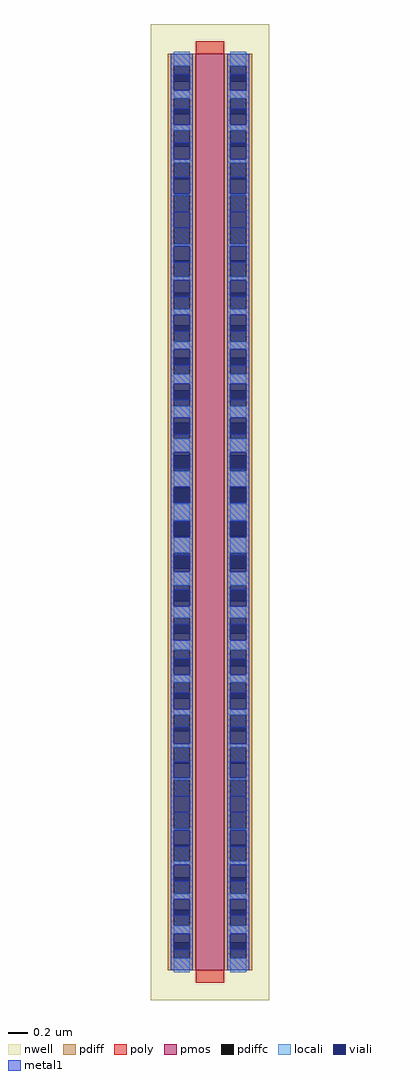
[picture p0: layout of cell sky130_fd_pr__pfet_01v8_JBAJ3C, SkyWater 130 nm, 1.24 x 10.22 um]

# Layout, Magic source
magic
tech sky130A
magscale 1 2
<< nwell >>
rect -124 -1022 124 1022
<< pmos >>
rect -30 -960 30 960
<< pdiff >>
rect -88 935 -30 960
rect -88 901 -76 935
rect -42 901 -30 935
rect -88 867 -30 901
rect -88 833 -76 867
rect -42 833 -30 867
rect -88 799 -30 833
rect -88 765 -76 799
rect -42 765 -30 799
rect -88 731 -30 765
rect -88 697 -76 731
rect -42 697 -30 731
rect -88 663 -30 697
rect -88 629 -76 663
rect -42 629 -30 663
rect -88 595 -30 629
rect -88 561 -76 595
rect -42 561 -30 595
rect -88 527 -30 561
rect -88 493 -76 527
rect -42 493 -30 527
rect -88 459 -30 493
rect -88 425 -76 459
rect -42 425 -30 459
rect -88 391 -30 425
rect -88 357 -76 391
rect -42 357 -30 391
rect -88 323 -30 357
rect -88 289 -76 323
rect -42 289 -30 323
rect -88 255 -30 289
rect -88 221 -76 255
rect -42 221 -30 255
rect -88 187 -30 221
rect -88 153 -76 187
rect -42 153 -30 187
rect -88 119 -30 153
rect -88 85 -76 119
rect -42 85 -30 119
rect -88 51 -30 85
rect -88 17 -76 51
rect -42 17 -30 51
rect -88 -17 -30 17
rect -88 -51 -76 -17
rect -42 -51 -30 -17
rect -88 -85 -30 -51
rect -88 -119 -76 -85
rect -42 -119 -30 -85
rect -88 -153 -30 -119
rect -88 -187 -76 -153
rect -42 -187 -30 -153
rect -88 -221 -30 -187
rect -88 -255 -76 -221
rect -42 -255 -30 -221
rect -88 -289 -30 -255
rect -88 -323 -76 -289
rect -42 -323 -30 -289
rect -88 -357 -30 -323
rect -88 -391 -76 -357
rect -42 -391 -30 -357
rect -88 -425 -30 -391
rect -88 -459 -76 -425
rect -42 -459 -30 -425
rect -88 -493 -30 -459
rect -88 -527 -76 -493
rect -42 -527 -30 -493
rect -88 -561 -30 -527
rect -88 -595 -76 -561
rect -42 -595 -30 -561
rect -88 -629 -30 -595
rect -88 -663 -76 -629
rect -42 -663 -30 -629
rect -88 -697 -30 -663
rect -88 -731 -76 -697
rect -42 -731 -30 -697
rect -88 -765 -30 -731
rect -88 -799 -76 -765
rect -42 -799 -30 -765
rect -88 -833 -30 -799
rect -88 -867 -76 -833
rect -42 -867 -30 -833
rect -88 -901 -30 -867
rect -88 -935 -76 -901
rect -42 -935 -30 -901
rect -88 -960 -30 -935
rect 30 935 88 960
rect 30 901 42 935
rect 76 901 88 935
rect 30 867 88 901
rect 30 833 42 867
rect 76 833 88 867
rect 30 799 88 833
rect 30 765 42 799
rect 76 765 88 799
rect 30 731 88 765
rect 30 697 42 731
rect 76 697 88 731
rect 30 663 88 697
rect 30 629 42 663
rect 76 629 88 663
rect 30 595 88 629
rect 30 561 42 595
rect 76 561 88 595
rect 30 527 88 561
rect 30 493 42 527
rect 76 493 88 527
rect 30 459 88 493
rect 30 425 42 459
rect 76 425 88 459
rect 30 391 88 425
rect 30 357 42 391
rect 76 357 88 391
rect 30 323 88 357
rect 30 289 42 323
rect 76 289 88 323
rect 30 255 88 289
rect 30 221 42 255
rect 76 221 88 255
rect 30 187 88 221
rect 30 153 42 187
rect 76 153 88 187
rect 30 119 88 153
rect 30 85 42 119
rect 76 85 88 119
rect 30 51 88 85
rect 30 17 42 51
rect 76 17 88 51
rect 30 -17 88 17
rect 30 -51 42 -17
rect 76 -51 88 -17
rect 30 -85 88 -51
rect 30 -119 42 -85
rect 76 -119 88 -85
rect 30 -153 88 -119
rect 30 -187 42 -153
rect 76 -187 88 -153
rect 30 -221 88 -187
rect 30 -255 42 -221
rect 76 -255 88 -221
rect 30 -289 88 -255
rect 30 -323 42 -289
rect 76 -323 88 -289
rect 30 -357 88 -323
rect 30 -391 42 -357
rect 76 -391 88 -357
rect 30 -425 88 -391
rect 30 -459 42 -425
rect 76 -459 88 -425
rect 30 -493 88 -459
rect 30 -527 42 -493
rect 76 -527 88 -493
rect 30 -561 88 -527
rect 30 -595 42 -561
rect 76 -595 88 -561
rect 30 -629 88 -595
rect 30 -663 42 -629
rect 76 -663 88 -629
rect 30 -697 88 -663
rect 30 -731 42 -697
rect 76 -731 88 -697
rect 30 -765 88 -731
rect 30 -799 42 -765
rect 76 -799 88 -765
rect 30 -833 88 -799
rect 30 -867 42 -833
rect 76 -867 88 -833
rect 30 -901 88 -867
rect 30 -935 42 -901
rect 76 -935 88 -901
rect 30 -960 88 -935
<< pdiffc >>
rect -76 901 -42 935
rect -76 833 -42 867
rect -76 765 -42 799
rect -76 697 -42 731
rect -76 629 -42 663
rect -76 561 -42 595
rect -76 493 -42 527
rect -76 425 -42 459
rect -76 357 -42 391
rect -76 289 -42 323
rect -76 221 -42 255
rect -76 153 -42 187
rect -76 85 -42 119
rect -76 17 -42 51
rect -76 -51 -42 -17
rect -76 -119 -42 -85
rect -76 -187 -42 -153
rect -76 -255 -42 -221
rect -76 -323 -42 -289
rect -76 -391 -42 -357
rect -76 -459 -42 -425
rect -76 -527 -42 -493
rect -76 -595 -42 -561
rect -76 -663 -42 -629
rect -76 -731 -42 -697
rect -76 -799 -42 -765
rect -76 -867 -42 -833
rect -76 -935 -42 -901
rect 42 901 76 935
rect 42 833 76 867
rect 42 765 76 799
rect 42 697 76 731
rect 42 629 76 663
rect 42 561 76 595
rect 42 493 76 527
rect 42 425 76 459
rect 42 357 76 391
rect 42 289 76 323
rect 42 221 76 255
rect 42 153 76 187
rect 42 85 76 119
rect 42 17 76 51
rect 42 -51 76 -17
rect 42 -119 76 -85
rect 42 -187 76 -153
rect 42 -255 76 -221
rect 42 -323 76 -289
rect 42 -391 76 -357
rect 42 -459 76 -425
rect 42 -527 76 -493
rect 42 -595 76 -561
rect 42 -663 76 -629
rect 42 -731 76 -697
rect 42 -799 76 -765
rect 42 -867 76 -833
rect 42 -935 76 -901
<< poly >>
rect -30 960 30 986
rect -30 -986 30 -960
<< locali >>
rect -76 935 -42 964
rect -76 867 -42 883
rect -76 799 -42 811
rect -76 731 -42 739
rect -76 663 -42 667
rect -76 557 -42 561
rect -76 485 -42 493
rect -76 413 -42 425
rect -76 341 -42 357
rect -76 269 -42 289
rect -76 197 -42 221
rect -76 125 -42 153
rect -76 53 -42 85
rect -76 -17 -42 17
rect -76 -85 -42 -53
rect -76 -153 -42 -125
rect -76 -221 -42 -197
rect -76 -289 -42 -269
rect -76 -357 -42 -341
rect -76 -425 -42 -413
rect -76 -493 -42 -485
rect -76 -561 -42 -557
rect -76 -667 -42 -663
rect -76 -739 -42 -731
rect -76 -811 -42 -799
rect -76 -883 -42 -867
rect -76 -964 -42 -935
rect 42 935 76 964
rect 42 867 76 883
rect 42 799 76 811
rect 42 731 76 739
rect 42 663 76 667
rect 42 557 76 561
rect 42 485 76 493
rect 42 413 76 425
rect 42 341 76 357
rect 42 269 76 289
rect 42 197 76 221
rect 42 125 76 153
rect 42 53 76 85
rect 42 -17 76 17
rect 42 -85 76 -53
rect 42 -153 76 -125
rect 42 -221 76 -197
rect 42 -289 76 -269
rect 42 -357 76 -341
rect 42 -425 76 -413
rect 42 -493 76 -485
rect 42 -561 76 -557
rect 42 -667 76 -663
rect 42 -739 76 -731
rect 42 -811 76 -799
rect 42 -883 76 -867
rect 42 -964 76 -935
<< viali >>
rect -76 901 -42 917
rect -76 883 -42 901
rect -76 833 -42 845
rect -76 811 -42 833
rect -76 765 -42 773
rect -76 739 -42 765
rect -76 697 -42 701
rect -76 667 -42 697
rect -76 595 -42 629
rect -76 527 -42 557
rect -76 523 -42 527
rect -76 459 -42 485
rect -76 451 -42 459
rect -76 391 -42 413
rect -76 379 -42 391
rect -76 323 -42 341
rect -76 307 -42 323
rect -76 255 -42 269
rect -76 235 -42 255
rect -76 187 -42 197
rect -76 163 -42 187
rect -76 119 -42 125
rect -76 91 -42 119
rect -76 51 -42 53
rect -76 19 -42 51
rect -76 -51 -42 -19
rect -76 -53 -42 -51
rect -76 -119 -42 -91
rect -76 -125 -42 -119
rect -76 -187 -42 -163
rect -76 -197 -42 -187
rect -76 -255 -42 -235
rect -76 -269 -42 -255
rect -76 -323 -42 -307
rect -76 -341 -42 -323
rect -76 -391 -42 -379
rect -76 -413 -42 -391
rect -76 -459 -42 -451
rect -76 -485 -42 -459
rect -76 -527 -42 -523
rect -76 -557 -42 -527
rect -76 -629 -42 -595
rect -76 -697 -42 -667
rect -76 -701 -42 -697
rect -76 -765 -42 -739
rect -76 -773 -42 -765
rect -76 -833 -42 -811
rect -76 -845 -42 -833
rect -76 -901 -42 -883
rect -76 -917 -42 -901
rect 42 901 76 917
rect 42 883 76 901
rect 42 833 76 845
rect 42 811 76 833
rect 42 765 76 773
rect 42 739 76 765
rect 42 697 76 701
rect 42 667 76 697
rect 42 595 76 629
rect 42 527 76 557
rect 42 523 76 527
rect 42 459 76 485
rect 42 451 76 459
rect 42 391 76 413
rect 42 379 76 391
rect 42 323 76 341
rect 42 307 76 323
rect 42 255 76 269
rect 42 235 76 255
rect 42 187 76 197
rect 42 163 76 187
rect 42 119 76 125
rect 42 91 76 119
rect 42 51 76 53
rect 42 19 76 51
rect 42 -51 76 -19
rect 42 -53 76 -51
rect 42 -119 76 -91
rect 42 -125 76 -119
rect 42 -187 76 -163
rect 42 -197 76 -187
rect 42 -255 76 -235
rect 42 -269 76 -255
rect 42 -323 76 -307
rect 42 -341 76 -323
rect 42 -391 76 -379
rect 42 -413 76 -391
rect 42 -459 76 -451
rect 42 -485 76 -459
rect 42 -527 76 -523
rect 42 -557 76 -527
rect 42 -629 76 -595
rect 42 -697 76 -667
rect 42 -701 76 -697
rect 42 -765 76 -739
rect 42 -773 76 -765
rect 42 -833 76 -811
rect 42 -845 76 -833
rect 42 -901 76 -883
rect 42 -917 76 -901
<< metal1 >>
rect -82 917 -36 960
rect -82 883 -76 917
rect -42 883 -36 917
rect -82 845 -36 883
rect -82 811 -76 845
rect -42 811 -36 845
rect -82 773 -36 811
rect -82 739 -76 773
rect -42 739 -36 773
rect -82 701 -36 739
rect -82 667 -76 701
rect -42 667 -36 701
rect -82 629 -36 667
rect -82 595 -76 629
rect -42 595 -36 629
rect -82 557 -36 595
rect -82 523 -76 557
rect -42 523 -36 557
rect -82 485 -36 523
rect -82 451 -76 485
rect -42 451 -36 485
rect -82 413 -36 451
rect -82 379 -76 413
rect -42 379 -36 413
rect -82 341 -36 379
rect -82 307 -76 341
rect -42 307 -36 341
rect -82 269 -36 307
rect -82 235 -76 269
rect -42 235 -36 269
rect -82 197 -36 235
rect -82 163 -76 197
rect -42 163 -36 197
rect -82 125 -36 163
rect -82 91 -76 125
rect -42 91 -36 125
rect -82 53 -36 91
rect -82 19 -76 53
rect -42 19 -36 53
rect -82 -19 -36 19
rect -82 -53 -76 -19
rect -42 -53 -36 -19
rect -82 -91 -36 -53
rect -82 -125 -76 -91
rect -42 -125 -36 -91
rect -82 -163 -36 -125
rect -82 -197 -76 -163
rect -42 -197 -36 -163
rect -82 -235 -36 -197
rect -82 -269 -76 -235
rect -42 -269 -36 -235
rect -82 -307 -36 -269
rect -82 -341 -76 -307
rect -42 -341 -36 -307
rect -82 -379 -36 -341
rect -82 -413 -76 -379
rect -42 -413 -36 -379
rect -82 -451 -36 -413
rect -82 -485 -76 -451
rect -42 -485 -36 -451
rect -82 -523 -36 -485
rect -82 -557 -76 -523
rect -42 -557 -36 -523
rect -82 -595 -36 -557
rect -82 -629 -76 -595
rect -42 -629 -36 -595
rect -82 -667 -36 -629
rect -82 -701 -76 -667
rect -42 -701 -36 -667
rect -82 -739 -36 -701
rect -82 -773 -76 -739
rect -42 -773 -36 -739
rect -82 -811 -36 -773
rect -82 -845 -76 -811
rect -42 -845 -36 -811
rect -82 -883 -36 -845
rect -82 -917 -76 -883
rect -42 -917 -36 -883
rect -82 -960 -36 -917
rect 36 917 82 960
rect 36 883 42 917
rect 76 883 82 917
rect 36 845 82 883
rect 36 811 42 845
rect 76 811 82 845
rect 36 773 82 811
rect 36 739 42 773
rect 76 739 82 773
rect 36 701 82 739
rect 36 667 42 701
rect 76 667 82 701
rect 36 629 82 667
rect 36 595 42 629
rect 76 595 82 629
rect 36 557 82 595
rect 36 523 42 557
rect 76 523 82 557
rect 36 485 82 523
rect 36 451 42 485
rect 76 451 82 485
rect 36 413 82 451
rect 36 379 42 413
rect 76 379 82 413
rect 36 341 82 379
rect 36 307 42 341
rect 76 307 82 341
rect 36 269 82 307
rect 36 235 42 269
rect 76 235 82 269
rect 36 197 82 235
rect 36 163 42 197
rect 76 163 82 197
rect 36 125 82 163
rect 36 91 42 125
rect 76 91 82 125
rect 36 53 82 91
rect 36 19 42 53
rect 76 19 82 53
rect 36 -19 82 19
rect 36 -53 42 -19
rect 76 -53 82 -19
rect 36 -91 82 -53
rect 36 -125 42 -91
rect 76 -125 82 -91
rect 36 -163 82 -125
rect 36 -197 42 -163
rect 76 -197 82 -163
rect 36 -235 82 -197
rect 36 -269 42 -235
rect 76 -269 82 -235
rect 36 -307 82 -269
rect 36 -341 42 -307
rect 76 -341 82 -307
rect 36 -379 82 -341
rect 36 -413 42 -379
rect 76 -413 82 -379
rect 36 -451 82 -413
rect 36 -485 42 -451
rect 76 -485 82 -451
rect 36 -523 82 -485
rect 36 -557 42 -523
rect 76 -557 82 -523
rect 36 -595 82 -557
rect 36 -629 42 -595
rect 76 -629 82 -595
rect 36 -667 82 -629
rect 36 -701 42 -667
rect 76 -701 82 -667
rect 36 -739 82 -701
rect 36 -773 42 -739
rect 76 -773 82 -739
rect 36 -811 82 -773
rect 36 -845 42 -811
rect 76 -845 82 -811
rect 36 -883 82 -845
rect 36 -917 42 -883
rect 76 -917 82 -883
rect 36 -960 82 -917
<< end >>
